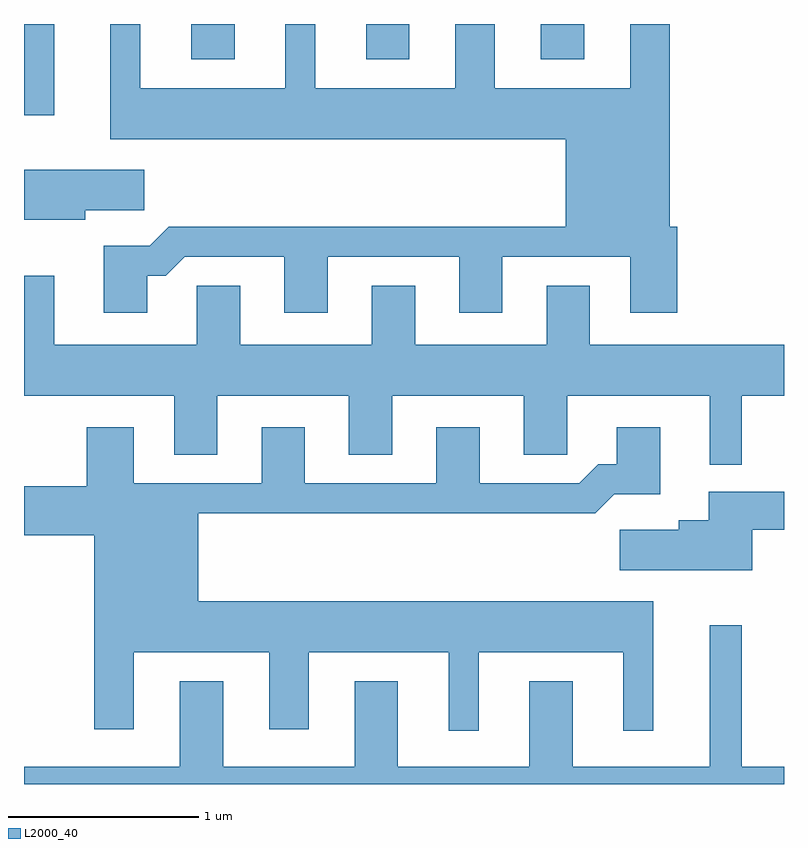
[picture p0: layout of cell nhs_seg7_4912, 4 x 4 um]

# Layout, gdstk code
import gdstk
lib = gdstk.Library(unit=1e-6, precision=1e-09)
def R(c, l, rs):  # rectangles x0, y0, x1, y1
    for r in rs: c.add(gdstk.rectangle(r[:2], r[2:], *l))
def A(c, l, x, y, w, h, nx, ny, dx, dy):  # array of equal rectangles
    R(c, l, [(x+i*dx, y+j*dy, x+i*dx+w, y+j*dy+h) for i in range(nx) for j in range(ny)])
def P(c, l, *ps):  # polygons
    for p in ps: c.add(gdstk.Polygon(p, *l))
L2000_40 = (2000, 40)

nhs_seg7_4912 = lib.new_cell('nhs_seg7_4912')
A(nhs_seg7_4912, L2000_40, 336.491, 1736.066, 0.228, 0.186, 3, 1, 0.92, 0)
R(nhs_seg7_4912, L2000_40, [(335.611,1735.773,335.769,1736.252)])
P(nhs_seg7_4912, L2000_40, [(336.259,1734.926),(336.357,1734.926),(336.457,1735.026),(336.981,1735.026),(336.981,1734.731),(337.209,1734.731),(337.209,1735.026),(337.901,1735.026),(337.901,1734.731),(338.129,1734.731),(338.129,1735.026),(338.801,1735.026),(338.801,1734.731),(339.049,1734.731),(339.049,1735.184),(339.009,1735.184),(339.009,1736.252),(338.801,1736.252),(338.801,1735.914),(338.089,1735.914),(338.089,1736.252),(337.881,1736.252),(337.881,1735.914),(337.144,1735.914),(337.144,1736.252),(336.986,1736.252),(336.986,1735.914),(336.224,1735.914),(336.224,1736.252),(336.066,1736.252),(336.066,1735.646),(338.461,1735.646),(338.461,1735.184),(336.374,1735.184),(336.274,1735.084),(336.031,1735.084),(336.031,1734.731),(336.259,1734.731)],
  [(335.934,1735.271),(336.244,1735.271),(336.244,1735.484),(335.611,1735.484),(335.611,1735.221),(335.934,1735.221)],
  [(339.389,1734.296),(339.611,1734.296),(339.611,1734.564),(338.589,1734.564),(338.589,1734.874),(338.361,1734.874),(338.361,1734.564),(337.669,1734.564),(337.669,1734.874),(337.441,1734.874),(337.441,1734.564),(336.749,1734.564),(336.749,1734.874),(336.521,1734.874),(336.521,1734.564),(335.769,1734.564),(335.769,1734.928),(335.611,1734.928),(335.611,1734.296),(336.401,1734.296),(336.401,1733.986),(336.629,1733.986),(336.629,1734.296),(337.321,1734.296),(337.321,1733.986),(337.549,1733.986),(337.549,1734.296),(338.241,1734.296),(338.241,1733.986),(338.469,1733.986),(338.469,1734.296),(339.221,1734.296),(339.221,1733.933),(339.389,1733.933)],
  [(338.004,1732.946),(338.766,1732.946),(338.766,1732.533),(338.924,1732.533),(338.924,1733.214),(336.529,1733.214),(336.529,1733.676),(338.617,1733.676),(338.717,1733.776),(338.959,1733.776),(338.959,1734.129),(338.731,1734.129),(338.731,1733.934),(338.634,1733.934),(338.534,1733.834),(338.009,1733.834),(338.009,1734.129),(337.781,1734.129),(337.781,1733.834),(337.089,1733.834),(337.089,1734.129),(336.861,1734.129),(336.861,1733.834),(336.189,1733.834),(336.189,1734.129),(335.941,1734.129),(335.941,1733.819),(335.611,1733.819),(335.611,1733.561),(335.981,1733.561),(335.981,1732.541),(336.189,1732.541),(336.189,1732.946),(336.901,1732.946),(336.901,1732.541),(337.109,1732.541),(337.109,1732.946),(337.846,1732.946),(337.846,1732.533),(338.004,1732.533)],
  [(339.444,1733.591),(339.611,1733.591),(339.611,1733.789),(339.216,1733.789),(339.216,1733.639),(339.056,1733.639),(339.056,1733.589),(338.746,1733.589),(338.746,1733.376),(339.444,1733.376)],
  [(339.611,1732.344),(339.389,1732.344),(339.389,1733.088),(339.221,1733.088),(339.221,1732.344),(338.499,1732.344),(338.499,1732.794),(338.271,1732.794),(338.271,1732.344),(337.579,1732.344),(337.579,1732.794),(337.351,1732.794),(337.351,1732.344),(336.659,1732.344),(336.659,1732.794),(336.431,1732.794),(336.431,1732.344),(335.611,1732.344),(335.611,1732.252),(339.611,1732.252)])

lib.write_gds('nhs_seg7_4912.gds')
